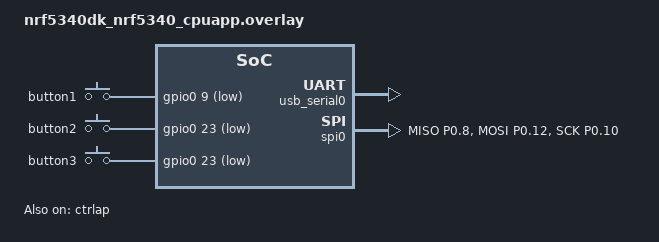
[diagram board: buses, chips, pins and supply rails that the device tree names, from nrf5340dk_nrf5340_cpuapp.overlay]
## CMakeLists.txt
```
cmake_minimum_required(VERSION 3.20.0)
find_package(Zephyr REQUIRED HINTS $ENV{ZEPHYR_BASE})

project(nRF5340_BLE_Sossk)

target_sources(app PRIVATE 
  src/main.c
  src/uart_async_adapter.c
  src/ads1299.c
  src/nfct_oob.c
)
target_sources(app PRIVATE src/led_button.c)
```

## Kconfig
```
menu "Nordic UART BLE GATT service sample"


config USB_UART_ASYNC_ADAPTER
	bool "Enable UART async adapter"
	select SERIAL_SUPPORT_ASYNC
	help
	  Enables asynchronous adapter for UART drives that supports only
	  IRQ interface.

endmenu


source "Kconfig.zephyr"
```

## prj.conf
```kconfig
# Kconfig or config can't use UTF8 chinese
CONFIG_LOG=y
CONFIG_DK_LIBRARY=y

# use double set FPU
CONFIG_FPU=y

# user Config SPI 
CONFIG_SPI=y
CONFIG_SPI_ASYNC=y
CONFIG_NRFX_SPIM0=y
CONFIG_SPI_COMPLETION_TIMEOUT_TOLERANCE=1000
# user spi in V2.6.0 must disable logging for TF-M
CONFIG_TFM_SECURE_UART=n
CONFIG_TFM_LOG_LEVEL_SILENCE=y

# enable updata BT connect param
CONFIG_BT_USER_PHY_UPDATE=y           # 1 update PHY enable

CONFIG_BT_PERIPHERAL_PREF_MIN_INT=16   
CONFIG_BT_PERIPHERAL_PREF_MAX_INT=16
CONFIG_BT_PERIPHERAL_PREF_LATENCY=0
CONFIG_BT_PERIPHERAL_PREF_TIMEOUT=400   

CONFIG_BT_GATT_CLIENT=y               # 3 update MTU user
CONFIG_BT_USER_DATA_LEN_UPDATE=y      # 2 upodate DLE enable
CONFIG_BT_CTLR_DATA_LENGTH_MAX=251
CONFIG_BT_BUF_ACL_RX_SIZE=251
CONFIG_BT_BUF_ACL_TX_SIZE=251
CONFIG_BT_L2CAP_TX_MTU=247

#Enable the NUS service
CONFIG_BT_NUS=y
# use ASYNC uart API
CONFIG_SERIAL=y
CONFIG_UART_ASYNC_API=y

# enable USB Device
CONFIG_USB_DEVICE_STACK=y
CONFIG_USB_DEVICE_PRODUCT="eCon_Sok_Device"
CONFIG_USB_DEVICE_PID=0x0001
CONFIG_USB_CDC_ACM=y
CONFIG_UART_INTERRUPT_DRIVEN=y
CONFIG_UART_LINE_CTRL=y
CONFIG_USB_DEVICE_REMOTE_WAKEUP=n
# enable USB ASYNC Adapter
CONFIG_USB_UART_ASYNC_ADAPTER=y

# set console is RTT View
CONFIG_USE_SEGGER_RTT=y
CONFIG_RTT_CONSOLE=y
CONFIG_UART_CONSOLE=n

# add BT software ad
CONFIG_BT=y
# add BT peripheral rola support ad
CONFIG_BT_PERIPHERAL=y
# define thread stack size main and workqueue
CONFIG_SYSTEM_WORKQUEUE_STACK_SIZE=2048
CONFIG_MAIN_STACK_SIZE=2048

# add about NFCT OBB 
CONFIG_BT_SMP=y
CONFIG_BT_SMP_APP_PAIRING_ACCEPT=y

CONFIG_NFC_T4T_NRFXLIB=y
CONFIG_NFC_NDEF=y
CONFIG_NFC_NDEF_MSG=y
CONFIG_NFC_NDEF_RECORD=y
CONFIG_NFC_NDEF_LE_OOB_REC=y
CONFIG_NFC_NDEF_CH_MSG=y
CONFIG_NFC_NDEF_TEXT_RECORD=y
CONFIG_NFC_NDEF_TNEP_RECORD=y
CONFIG_NFC_TNEP_TAG=y
CONFIG_NFC_NDEF_PARSER=y
CONFIG_NFC_NDEF_CH_PARSER=y
CONFIG_NFC_NDEF_LE_OOB_REC_PARSER=y
CONFIG_NFC_TNEP_CH=y

# use poll must add
CONFIG_POLL=y
```

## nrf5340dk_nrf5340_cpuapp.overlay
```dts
// To get started, press Ctrl+Space to bring up the completion menu and view the available nodes.

// You can also use the buttons in the sidebar to perform actions on nodes.
// Actions currently available include:

// * Enabling / disabling the node
// * Adding the bus to a bus
// * Removing the node
// * Connecting ADC channels

// For more help, browse the DeviceTree documentation at https://docs.zephyrproject.org/latest/guides/dts/index.html
// You can also visit the nRF DeviceTree extension documentation at https://nrfconnect.github.io/vscode-nrf-connect/devicetree/nrfdevicetree.html
&zephyr_udc0 {
    usb_serial0: cdc_acm_uart0 {
        compatible = "zephyr,cdc-acm-uart";
    };
};

&uart0 {
    status = "disabled";
    current-speed = <921600>;
};

&spi4 {
	status = "disabled"; 
	compatible = "nordic,nrf-spim";
	pinctrl-0 = <&spi4_default>;
	pinctrl-1 = <&spi4_sleep>;
	pinctrl-names = "default", "sleep";	
	cs-gpios = <&gpio0 11 GPIO_ACTIVE_LOW>;	
};

&pinctrl {

spi4_default: spi4_default {
		group1 {
			psels = <NRF_PSEL(SPIM_SCK, 0, 10)>,
				<NRF_PSEL(SPIM_MOSI, 0, 12)>,
				<NRF_PSEL(SPIM_MISO, 0, 8)>;
					nordic,drive-mode = <NRF_DRIVE_H0H1>;	
		};

    };

spi4_sleep: spi4_sleep {
		group1 {
			psels = <NRF_PSEL(SPIM_SCK, 0, 10)>,
				<NRF_PSEL(SPIM_MOSI, 0, 12)>,
				<NRF_PSEL(SPIM_MISO, 0, 8)>;
			low-power-enable;
					nordic,drive-mode = <NRF_DRIVE_H0H1>;
		};

    };

    spi0_default: spi0_default {
        group1 {
            psels = <NRF_PSEL(SPIM_MISO, 0, 8)>,
                    <NRF_PSEL(SPIM_MOSI, 0, 12)>,
                    <NRF_PSEL(SPIM_SCK, 0, 10)>;
        };
    };
};

&cryptocell {
    status = "disabled";
};

&ctrlap {
    status = "okay";
};


&gpio_fwd{
    /delete-node/ uart;
    nrf21540-gpio-if{
        gpios = <&gpio0 30 0>,
        <&gpio0 31 0>,
        <&gpio1 10 0>,
        <&gpio1 11 0>;
    };
};

/delete-node/ &button0;

/ {
    aliases {
        mcuboot-button0 = &button1;
    };
};

/ {
    aliases {
        /delete-property/ sw0;
    };
};

&button1 {
    gpios = <&gpio0 9 GPIO_ACTIVE_LOW>;
};

&button2 {
    gpios = <&gpio0 23 (GPIO_ACTIVE_LOW | GPIO_PULL_UP)>;
};

&button3 {
    gpios = <&gpio0 23 (GPIO_ACTIVE_LOW | GPIO_PULL_UP)>;
};

&spu {
    status = "disabled";
};

&uart0_default {
    group1 {
        psels = <NRF_PSEL(UART_TX, 1, 4)>;
    };

    group2 {
        psels = <NRF_PSEL(UART_RX, 1, 5)>;
    };
};

&i2c1 {
    status = "disabled";
};

&spi0 {
    status = "okay";
    cs-gpios = <&gpio0 11 GPIO_ACTIVE_LOW>;
    pinctrl-0 = <&spi0_default>;
    pinctrl-names = "default";
};

&gpiote {
    interrupts = <13>, <5>;
};
```

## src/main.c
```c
#include <zephyr/bluetooth/bluetooth.h>
#include <zephyr/bluetooth/gap.h>
#include <zephyr/bluetooth/uuid.h>
#include <zephyr/bluetooth/addr.h>
/*修改数据与连接参数用到*/
#include <zephyr/bluetooth/gatt.h>
/*蓝牙链接头文件*/
#include <zephyr/bluetooth/conn.h>
/*添加hci层，用于app调用网络核参数eg：static MAC add*/
#include <zephyr/bluetooth/hci_vs.h>
#include <zephyr/drivers/bluetooth/hci_driver.h>
/*添加nus服务头文件*/
#include <bluetooth/services/nus.h>
/*添加 USB CDC ADC头文件*/
#include <zephyr/usb/usb_device.h>
#include "uart_async_adapter.h"

#include "led_button.h"
#include "ads1299.h"
#include "main.h"
#include "nfct_oob.h"

// 注册线程信号量
static K_SEM_DEFINE(ble_init_ok, 0, 1);
// 注册加载log模块 
#define LOG_MODULE_NAME Sok_log_init
LOG_MODULE_REGISTER(LOG_MODULE_NAME);
// 自定义广播名称 
#define DEVICE_NAME "sok_nus_device"
#define DEVICE_NAME_LEN (sizeof(DEVICE_NAME) - 1)
/*  自定义链接设备my_conn
//  Connect management ： bt_conn
//  Zephyr蓝牙协议栈使用bt_conn抽象(*my_conn)来连接其他设备
//  note1：该结构体不向应用程序公开
//  note2：可以使用bt_conn_git_info()获取有限信息
//  note3：可以使用bt_con_ref()确保对象（指针）有效性*/
struct bt_conn *my_conn = NULL;			//用户连接抽象
struct bt_conn *auth_conn = NULL;		//自动重连抽象
// USB CDC ACM UART 缓存
#define DATA_SIZE_MAX  230				//串口（或传感器）一包最多收到230bytes数据
/* 根据节点（zephyr，cdc_acm_uart）获取属性 */
static const struct device *uart_dev = DEVICE_DT_GET_ONE(zephyr_cdc_acm_uart);	
uint8_t rx_buffer[2][DATA_SIZE_MAX];	//usb uart接收中断缓存1
uint8_t *next_buf = rx_buffer[1];		//usb uart接收中断缓存2
typedef struct							//USB收到数据（指令） &&  传感器准备好数据， 缓存到该FIFO中，通过NUS服务发送出去																	
{
	uint8_t * p_data;					//实际存放数据的数组地址								
	uint16_t length;					//这组数据长度
} buffer_t;
uint16_t my_data_cnt;					//缓存数据长度
uint8_t my_data_array[50000];			//缓存USB指令 && 传感器数据区域 eg：50000bytes
K_MSGQ_DEFINE(device_message_queue, sizeof(buffer_t), 200, 2);	//静态创建队列，名称：device_message_queue，大小butter_t，里面消息数量200个，每个元素对齐2bytes

/* User-defined logical variables start ====================================================== */
static bool bt_cccd = false;		//使能描述符cccd旗标
static bool bt_state = false;		//蓝牙连接状态旗标
static bool retry = false;			//重发旗标
static bool Drdy_flag = false;		//中断引脚准备旗标
static bool work_state = false;		//传感器采集状态
/* User-defined logical variables end * ====================================================== */

/* throuht send data timer* start***************************************************************/
static uint8_t ble_led_cnt;
static void timer0_handler(struct k_timer *dummy)	//timer tick = 10ms
{
	int err;
	if (err) {
		LOG_ERR("bt_conn_get_info() returned %d", err);
		return;
	}
	ble_led_cnt++;
	if(ble_led_cnt >= 50)
	{
		if(!bt_state)
			nrf_gpio_pin_toggle(LED_BLE);
		else 
			LED_BLE_L;
		ble_led_cnt = 0;
	}
}
static K_TIMER_DEFINE(timer0, timer0_handler, NULL);
/* throuht send data timer* end*****************************************************************/


/* 更新连接参数部分代码* start********************************************************************/
static void update_phy(struct bt_conn *conn)	//function 1 : 动态更新radio的phy
{
	int err;
	const struct bt_conn_le_phy_param preferred_phy = {	//发送和接受的调制速率可以单独设置
		.options = BT_CONN_LE_PHY_OPT_NONE,
		.pref_rx_phy = BT_GAP_LE_PHY_2M,
		.pref_tx_phy = BT_GAP_LE_PHY_2M,
	};
	err = bt_conn_le_phy_update(conn, &preferred_phy);
	if (err) {
		LOG_ERR("bt_conn_le_phy_update() returned %d", err);
	}
};
static void update_data_length(struct bt_conn *conn)	//function 2 ： 动态更新数据长度DLE
{
	int err;
	struct bt_conn_le_data_len_param my_data_len = {
		.tx_max_len = BT_GAP_DATA_LEN_MAX,
		.tx_max_time = BT_GAP_DATA_TIME_MAX,
	};
	err = bt_conn_le_data_len_update(my_conn, &my_data_len);
	if (err) {
		LOG_ERR("data_len_update failed (err %d)", err);
	}
};
static struct bt_gatt_exchange_params exchange_params;
static void exchange_func(struct bt_conn *conn, uint8_t att_err,
			  struct bt_gatt_exchange_params *params)
{
	LOG_INF("MTU exchange %s", att_err == 0 ? "successful" : "failed");
	if (!att_err) {
		uint16_t payload_mtu =
			bt_gatt_get_mtu(conn) - 3; // 3 bytes used for Attribute headers.
		LOG_INF("New MTU: %d bytes", payload_mtu);
	}
}
static void update_mtu(struct bt_conn *conn)	//function 3 ： 动态更新MTU
{
	int err;
	exchange_params.func = exchange_func;
	err = bt_gatt_exchange_mtu(conn, &exchange_params);
	if (err) {
		LOG_ERR("bt_gatt_exchange_mtu failed (err %d)", err);
	}
}
static void update_led_param(struct bt_conn *conn)	//function 4: 动态更新连接参数
{
	struct bt_le_conn_param param;
	param.interval_max = 800;
	param.interval_min = 800;
	param.latency = 0;
	param.timeout = 400;
	bt_conn_le_param_update(conn, &param);
}
void on_le_param_updated(struct bt_conn *conn, uint16_t interval, uint16_t latency,	//更新连接成功回调函数
			 uint16_t timeout)
{
	double connection_interval = interval * 1.25; // in ms
	uint16_t supervision_timeout = timeout * 10; // in ms
	LOG_INF("Connection parameters updated: interval %.2f ms, latency %d intervals, timeout %d ms",
		connection_interval, latency, supervision_timeout);
}
void on_le_phy_updated(struct bt_conn *conn, struct bt_conn_le_phy_info *param)		//更新PHY成功回调函数
{
	if (param->tx_phy == BT_CONN_LE_TX_POWER_PHY_1M) {
		LOG_INF("PHY updated. New PHY: 1M");
	} else if (param->tx_phy == BT_CONN_LE_TX_POWER_PHY_2M) {
		LOG_INF("PHY updated. New PHY: 2M");
	} else if (param->tx_phy == BT_CONN_LE_TX_POWER_PHY_CODED_S8) {
		LOG_INF("PHY updated. New PHY: Long Range");
	}
}
void on_le_data_len_updated(struct bt_conn *conn, struct bt_conn_le_data_len_info *info)	//更新数据长度成功回调函数
{
	uint16_t tx_len = info->tx_max_len;
	uint16_t tx_time = info->tx_max_time;
	uint16_t rx_len = info->rx_max_len;
	uint16_t rx_time = info->rx_max_time;
	LOG_INF("Data length updated. Length %d/%d bytes, time %d/%d us", tx_len, rx_len, tx_time,
		rx_time);
}
/* 更新连接参数部分代码* end**********************************************************************/


/* 蓝牙广播设置相关部分代码* start*****************************************************************/
static struct bt_le_adv_param *adv_param = BT_LE_ADV_PARAM(// 静态修改广播扫描参数 
(BT_LE_ADV_OPT_CONNECTABLE |
 BT_LE_ADV_OPT_USE_IDENTITY), //链接广播使用用户自定义地址
BT_GAP_ADV_FAST_INT_MIN_1,    //最小广播间隔30ms = 48 x 0.625ms
BT_GAP_ADV_FAST_INT_MAX_1,    //最大广播间隔60ms = 96 x 0.625ms
NULL);                        //非定向广播设置为NULL
static const struct bt_data ad[]={// 设置广播信息 
	BT_DATA_BYTES(BT_DATA_FLAGS, (BT_LE_AD_GENERAL | BT_LE_AD_NO_BREDR)),   //可发现，并且不支持经典蓝牙
	BT_DATA(BT_DATA_NAME_COMPLETE, DEVICE_NAME, DEVICE_NAME_LEN),           //广播名称
};
static const struct bt_data sd[] = {// 设置广播扫描应答 
	BT_DATA_BYTES(BT_DATA_UUID128_ALL, BT_UUID_NUS_VAL),	//应答NUS服务的UUID 128bytes全称
};
void on_connected(struct bt_conn *conn, uint8_t err)//蓝牙连接成功回调函数
{
	if (err) {
		LOG_ERR("Connection error %d", err);
		return;
	}
	LOG_INF("Connected");
	my_conn = bt_conn_ref(conn);
	bt_state = true;
	struct bt_conn_info info;				//连接参数结构体
	err = bt_conn_get_info(conn, &info);	//获取连接参数信息
	if (err) {
		LOG_ERR("bt_conn_get_info() returned %d", err);
		return;
	}
	
	update_phy(my_conn);
	update_data_length(my_conn);
	update_mtu(my_conn);

}
void on_disconnected(struct bt_conn *conn, uint8_t reason)//蓝牙断开事件回调函数
{
	LOG_INF("Disconnected. Reason %d", reason);
	bt_state = false;
	work_state = false;
	if (auth_conn) {
		bt_conn_unref(auth_conn);
		auth_conn = NULL;
	}

	if (my_conn) {
		bt_conn_unref(my_conn);
		my_conn = NULL;
	}
}
struct bt_conn_cb connection_callbacks = {//申明链接回调结构体
	.connected = on_connected,
	.disconnected = on_disconnected,

};
/* 蓝牙广播设置相关部分代码* end*******************************************************************/




/* 串口透传NUS 服务部分代码* start********************************************************************/
static void bt_receive_cb(struct bt_conn *conn, const uint8_t *const data, uint16_t len)	//NUS服务收到数据事件-回调函数
{
	int err;
	uint8_t order;
	//err = uart_tx(uart_dev, data, len, SYS_FOREVER_MS); //回环测试，收到服务端数据回传USB串口
	if(len == 1)
	{
		order = data[0];
		switch(order)
		{
			case 'T':
				work_state = true;	
			break;
			case 'S':
				work_state = false;
			break;
			default:
			
			break;
		}
	}
};
static void bt_send_enabled_cb(enum bt_nus_send_status status)	//NUS使能描述符
{
	int err;
	if(status == BT_NUS_SEND_STATUS_ENABLED)
	{
		LOG_INF("Enable CCCD");
		bt_cccd = true;
	}
	else
	{
		LOG_INF("nus disable CCCD");
		bt_cccd = false;
	}
};
static void  bt_sent_cb(struct bt_conn *conn)	//NUS发送主机事件ACK回调
{
	//ble_data_send_queue();
};
static struct bt_nus_cb nus_cb = {	//用于初始化的回调事件结构体
	.received = bt_receive_cb,
	.send_enabled = bt_send_enabled_cb,
	.sent = bt_sent_cb,	
	
};
/* 串口透传NUS 服务部分代码* end**********************************************************************/



/* USB CDC ACM   部分代码* start********************************************************************/
static void uart_callback(const struct device *dev,  struct uart_event *evt,  void *user_data)	//USB CDC UART 事件回调
{
	struct device *uart = user_data;
	int err;
	switch (evt->type) {
	case UART_TX_DONE:	
		break;

	case UART_TX_ABORTED:
		break;
	case UART_RX_DISABLED:
   		err = uart_rx_enable(uart_dev, rx_buffer[0], sizeof(rx_buffer[0]), -1);		//开启连续接受模式
		break;
	case UART_RX_RDY:
		// length = evt->data.rx.len;
		// memcpy(&my_data_array[data_cnt], evt->data.rx.buf, length);	//数据存入缓存
		// push_buf.length = length;	//数据地址存入堆栈
		// push_buf.p_data = &my_data_array[data_cnt];
		// err = k_msgq_put(&device_message_queue, &push_buf, K_FOREVER);
		// if (err) {
		// 	LOG_ERR("Return value from k_msgq_put = %d", err);
		// }

		// err = k_msgq_get(&device_message_queue, &pop_buf, K_FOREVER);
		// if (err) {
		// 	LOG_ERR("Return value from k_msgq_get = %d", err);
		// }
		// bt_nus_send(NULL, pop_buf.p_data, pop_buf.length);
		// data_cnt = data_cnt + length;
		break;
	case UART_RX_BUF_REQUEST:
		err = uart_rx_buf_rsp(uart, next_buf,
			sizeof(rx_buffer[0]));
		if (err) {
			LOG_WRN("UART RX buf rsp: %d", err);
		}	
		break;
	case UART_RX_BUF_RELEASED:
		break;
	case UART_RX_STOPPED:
		break;
	}	
}
static bool uart_test_async_api(const struct device *dev)
{
	const struct uart_driver_api *api=
		(const struct uart_driver_api *)dev->api;
	return (api->callback_set!=NULL);
}
#if CONFIG_USB_UART_ASYNC_ADAPTER
UART_ASYNC_ADAPTER_INST_DEFINE(async_adapter);
#else
static const struct device *const async_adapter;
#endif
void usb_cdc_acm_init()	//初始化USB CDC UART
{
	int err;
	uint8_t *buf;
	if(!device_is_ready(uart_dev)){
		printk("device %s is not ready; exiting\n", uart_dev->name);
	}
    if (IS_ENABLED(CONFIG_USB_DEVICE_STACK)) {
		err = usb_enable(NULL);
		if (err && (err != -EALREADY)) {
			printk("Failed to enable USB\n");
			return;
		}
	}
    if (IS_ENABLED(CONFIG_USB_UART_ASYNC_ADAPTER) && !uart_test_async_api(uart_dev)) {
		/* Implement API adapter */
		uart_async_adapter_init(async_adapter, uart_dev);
		uart_dev = async_adapter;
	}	
	err = uart_callback_set(uart_dev, uart_callback, (void *)uart_dev);
	__ASSERT(err == 0, "Failed to set callback");
    err = uart_rx_enable(uart_dev, rx_buffer[0], sizeof(rx_buffer)[0], -1);		//中断里面清除阻塞开启连续接受
}
/* USB CDC ACM   部分代码* end**********************************************************************/


/* GPIOTE ADS1299_DRDY 引脚中断部分代码* start*******************************************************/
//ads1299 数据中断读取数据
#define ADS1299_DRDY_NODE	DT_ALIAS(sw1)	
static const struct gpio_dt_spec drdy_dev = GPIO_DT_SPEC_GET(ADS1299_DRDY_NODE, gpios);
void ads1299_data_prepare()
{
	int err;
	uint16_t length;
	buffer_t push_buf;
	length = 222;
	memcpy(&my_data_array[my_data_cnt], eCon_Message_buf, length);	
	push_buf.length = length;
	push_buf.p_data = &my_data_array[my_data_cnt];
	err = k_msgq_put(&device_message_queue, &push_buf, K_NO_WAIT);
	if (err) {
		LOG_WRN("queue is full reason is = %d", err);
	}
	my_data_cnt = my_data_cnt + length;
	if(my_data_cnt >= 49600)
	my_data_cnt = 0;
}
void ads1299_drdy_int_Handle(const struct device *dev, struct gpio_callback *cb, uint32_t pins)
{
	if(bt_cccd == true){
		Drdy_flag = true;
	}
	else{
		Drdy_flag = false;
	}

}
static struct gpio_callback drdy_cb_data;
void ads1299_gpiote_init()
{
	int ret;
	if (!device_is_ready(drdy_dev.port)) {  
		return;
	}
 	ret = gpio_pin_configure_dt(&drdy_dev, GPIO_INPUT);	
	if(ret < 0){
		return;
	} 
	ret = gpio_pin_interrupt_configure_dt(&drdy_dev, GPIO_INT_EDGE_TO_ACTIVE);  //1299在drdy上升沿读取？
 	gpio_init_callback(&drdy_cb_data, ads1299_drdy_int_Handle, BIT(drdy_dev.pin));	 
	gpio_add_callback(drdy_dev.port, &drdy_cb_data);
}
/* GPIOTE ADS1299_DRDY 引脚中断部分代码* end*********************************************************/


/*
  name      ：bt_private_set_addr（）
  function  ：静态修改广播MAC地址
  param     : none
  return    : none
  notice    : 需要在广播初始化之前完成
*/
static void bt_private_set_addr()
{
	int err;
  	bt_addr_le_t addr;
	err = bt_addr_le_from_str("FF:EE:DD:CC:BB:AA", "random", &addr);
	if (err) {
		printk("Invalid BT address (err %d)\n", err);
	}
	err = bt_id_create(&addr, NULL);
	if (err < 0) {
		printk("Creating new ID failed (err %d)\n", err);
	}
}
/*
  name      ：bt_get_addr（）
  function  ：读取本机的MAC ADD
  param     : none
  return    : none
  notice    : 需要在BT_ENABLE之后，同时引用hci头文件，APP从网络核中读取
*/
char user_addr_str[BT_ADDR_STR_LEN];

static void bt_get_addr()
{
	struct bt_hci_vs_static_addr addr;
	int addr_count;
	addr_count = bt_read_static_addr(&addr, 1);

	if (addr_count > 0)
	{
		bt_addr_to_str(&(addr.bdaddr), user_addr_str, sizeof(user_addr_str));
		printk("BT addr: %s\n", user_addr_str);
	}
}

int main(void)
{
    int err;
	int blink_status = 0;  
	usb_cdc_acm_init();
  	Led_Button_init();	
	pow_init();
	k_msleep(50);
	ADS1299_spi_init();
	ADS1299_SampleRate_init(SAMPLE_RATE_1000);
	ADS_ModeSelect(TestSignal);
  //bt_private_set_addr();	//设置私有随机地址

 	/* 注册连接事件回调 */
	bt_conn_cb_register(&connection_callbacks);
	/* 注册smp连接事件回调 */
	sercurity_conn_init_main();
  	/* 使能协议栈 */
    err = bt_enable(NULL);
	if (err) {
		LOG_ERR("Bluetooth init failed (err %d)\n", err);
		return;
	}
	/* 读取MAC 本地地址*/
	bt_get_addr();
	/* 初始化NUS服务 */
	err = bt_nus_init(&nus_cb);
	if (err) {
		LOG_ERR("Failed to initialize UART service (err: %d)", err);
		return;
	}
 	/* 按照设置好的adv_param参数开启广播 */
	err = bt_le_adv_start(adv_param, ad, ARRAY_SIZE(ad), sd, ARRAY_SIZE(sd));
	if (err) {
		LOG_ERR("Advertising failed to start (err %d)\n", err);
		return;
	}
  	LOG_INF("Advertising successfully started");

	/* 全部初始化完成后开启传感器引脚中断和APP定时器*/
	k_timer_start(&timer0, K_MSEC(1), K_MSEC(10));
	ads1299_gpiote_init();	
	nfc_tnep_ndef_init_main();
	k_sem_give(&ble_init_ok);
	for (;;) {
    	//线程中不能用死循环造成堵塞
		if(bt_state){
			nfc_tnep_tag_event_handle();	//只有连接时候轮询NFC event
		}

		k_sleep(K_MSEC(100));
	}
}
/* 模拟传感器数据线程 start********************************************************************/
#define STACKSIZE 1024
#define PRIORITY 3
void send_data_thread(void)//新建一个线程，用于读取数据和发送
{
	/*mian thread 未初始化完成前不做任何操作*/
	k_sem_take(&ble_init_ok, K_FOREVER);	
	int err;
	uint16_t pop_length;
	buffer_t pop_buf;
	for (;;) {
		if((Drdy_flag == true)&&(work_state == true))
		{
			Drdy_flag = false;
			ADS1299_DATA_SetLine();
		}
	if(retry == true)	//如果之前发送失败，需要重发
	{
		err = bt_nus_send(NULL, pop_buf.p_data, pop_buf.length);
		if(err)
		{
			LOG_WRN("retry send is fail %d",err);
		}
		else
		{
			retry = false;
			LOG_INF("retry send OK");
		}
	}
	else	//没有重发就正常从队列取出数据发送
	{
		err = k_msgq_get(&device_message_queue, &pop_buf, K_NO_WAIT);
		if(err)
		{
			//LOG_WRN("queue none or timeout reason is = %d", err);
		}
		else//取出队列成功
		{
			err = bt_nus_send(NULL, pop_buf.p_data, pop_buf.length);
			if(err)
			{
				LOG_WRN("Failed to send data over BLE connection");
				retry = true;	//发送失败需要重发
			}
			else
			{

			}
		}
	}
		k_usleep(100);
	}
}
//静态创建线程
K_THREAD_DEFINE(send_data_thread_id, STACKSIZE, send_data_thread, NULL, NULL, NULL, PRIORITY, 0, 0);
/* 模拟传感器数据线程 end**********************************************************************/
```

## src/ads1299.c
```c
#include "ads1299.h"
#include <zephyr/drivers/spi.h>

#define LOG_MODULE_NAME Sok_1299_log
LOG_MODULE_REGISTER(LOG_MODULE_NAME);

// spi 节点声明 + 设备结构体指针
#define spi0_NODE   DT_NODELABEL(spi0)
static const struct device *spi4_dev = DEVICE_DT_GET(spi0_NODE);

// set spi config 结构体
struct spi_config spi_cfg;
struct spi_cs_control cs_ctrl;

// user private code and variable
uint8_t ads1299_id = 0x00;
uint8_t	demoIDX=0;
uint8_t packet_cnt;
uint8_t eCon_Message_buf[222] = {0xBB,0xAA}; 
uint8_t ReadBuf[27];
uint8_t writeBuf[27]={0x00,0x00};
/*外部声明函数*/
void ads1299_data_prepare();

void spi_CS_Lock_on(uint8_t lock_state)
{
    switch(lock_state)
    {
        case 0: spi_cfg.operation = SPI_WORD_SET(8)|SPI_MODE_CPHA|SPI_HOLD_ON_CS;
            break;
        case 1: spi_cfg.operation = SPI_WORD_SET(8)|SPI_MODE_CPHA&(~(SPI_HOLD_ON_CS));
            break;
    }
}

// ads1299 spi配置初始化配置
void ADS1299_spi_init()
{
	cs_ctrl.gpio.port = DEVICE_DT_GET(DT_GPIO_CTLR(DT_NODELABEL(spi4), cs_gpios));
	cs_ctrl.gpio.pin = DT_GPIO_PIN(DT_NODELABEL(spi4), cs_gpios);
	cs_ctrl.gpio.dt_flags = DT_GPIO_FLAGS(DT_NODELABEL(spi4), cs_gpios);
	cs_ctrl.delay = 2;
	spi_cfg.operation = SPI_WORD_SET(8)|SPI_MODE_CPHA| SPI_OP_MODE_MASTER;
	spi_cfg.frequency = 8000000;
	spi_cfg.cs = cs_ctrl;
    ADS1299_RESET();
    k_msleep(10);
    ADS_SDATAC();
    k_msleep(10);  
    ads1299_id = ADS_getDeviceID();
    if(ads1299_id != 0x3e)
       	LOG_ERR("ADS1299 init error err: %d", ads1299_id);
    else
		LOG_INF("ADS1299 init success  %d", ads1299_id);
}

//ads1299采样率初始化
void ADS1299_SampleRate_init(SAMPLE_RATE sr)
{
	uint8_t output_data_rate;
	switch(sr) {
			case SAMPLE_RATE_250:
					output_data_rate= 0x06;
					break;
			case SAMPLE_RATE_500:
					output_data_rate= 0x05;
					break;
			case SAMPLE_RATE_1000:
					output_data_rate= 0x04;
					break;
			case SAMPLE_RATE_2000:
					break;
			case SAMPLE_RATE_4000:
					break;
			case SAMPLE_RATE_8000:
					break;
			case SAMPLE_RATE_16000:
					break;
			default:;
	}	
	ADS_WREG(CONFIG1,0xD0 | output_data_rate);		//注意，单片1299没有使用菊花链，必须设置为0XD0
	k_msleep(100);
	ADS_WREG(CONFIG3,0xEC);
	k_msleep(100);	
	
}

//设置Ads1299模式（1-Impedance、2-Normal、3-Short noise、4-Test wave）
void ADS_ModeSelect(SAMPLE_MODE md)
{
	switch(md) {
		case Impedance:
			{//Impedance-31.2Hz-AC-6nA
				ADS_WREG(LOFF,0x02);
				k_msleep(10);

				ADS_WREG(BIAS_SENSP,0xFF);
				k_msleep(10);
				ADS_WREG(BIAS_SENSN,0xFF);
				k_msleep(10);
				ADS_WREG(LOFF_SENSP,0xFF);
				k_msleep(10);
				ADS_WREG(LOFF_SENSN,0x00);
				k_msleep(10);
				ADS_WREG(LOFF_FLIP,0x00);
				k_msleep(10);
				ADS_WREG(MISC1,0x20);//设置SRB1
				k_msleep(10);
				
				ADS_WREG(CH1SET,0x60);
				k_msleep(5);
				ADS_WREG(CH2SET,0x60);
				k_msleep(5);
				ADS_WREG(CH3SET,0x60);
				k_msleep(5);
				ADS_WREG(CH4SET,0x60);
				k_msleep(5);
				ADS_WREG(CH5SET,0x60);
				k_msleep(5);
				ADS_WREG(CH6SET,0x60);
				k_msleep(5);
				ADS_WREG(CH7SET,0x60);
				k_msleep(5);
				ADS_WREG(CH8SET,0x60);
				k_msleep(5);
				
				ADS1299_START();
				k_msleep(5);
				ADS_RDATAC();
				k_msleep(5);
			}
			break;
		case Normal:
			{
				ADS_WREG(CONFIG2,0xC0);
				/*-----------------------------------------------------------------------
				*bit[7:5]			6h
				*bit4:				0:测试信号外部产生							1：测试信号内部产生
				*bit3：				0h	
				*bit2：				0：1x-(vrefp-vrefn)/2400				1：2x-(vrefp-vrefn)/2400
				*bit[1:0]			测试信号频率
				*----------------------------------------------------------------------*/	
				k_msleep(10);
				ADS_WREG(BIAS_SENSP,0xFF);
				/*-----------------------------------------------------------------------
				  * 该寄存器控制每个通道正信号进行偏置电压BIAS的推导
					*	BIASPn:						0:关闭正信号输入BIAS中							1：使能
				*----------------------------------------------------------------------*/	
				k_msleep(10);
				ADS_WREG(BIAS_SENSN,0xFF);
				/*-----------------------------------------------------------------------
					* 该寄存器控制每个通道负信号进行偏置电压BIAS的推导
					*	BIASPn:						0:关闭正信号输入BIAS中							1：使能
				*----------------------------------------------------------------------*/	
				k_msleep(10);
				ADS_WREG(MISC1,0x00);//设置SRB1开关打开 ——> 差分使用
				//ADS_WREG(MISC1,0x20);//设置SRB1开关闭合 ——> 单端使用
				/*-----------------------------------------------------------------------
					*	该寄存器提高SRB引脚接入反向输入控制
					*	bit5：						0：开关打开													1：开关关闭
				*----------------------------------------------------------------------*/	
				k_msleep(10);
				ADS_WREG(CH1SET,0x60);
				/*-----------------------------------------------------------------------
					* CH[1:8]控制着电源模式、PGA增益和多路复用器设置
					*	bit7(power_down)							0：正常运行										1：通道断电		
					*	bit[6:4](PGA gain)						000:1		001:2		010:4		011:6		100:8		101:12		110:24		111:do not use
					*	bit[3]												0: 打开SRB2连接								1：关闭SRB2连接
					*	bit[2:0]多路复用MUXn[2:0]			000：正常电极输入		001：输入短路		010：与BIAS_MEAS一起使用，用于测试偏置		011：MVDD输入		100：温度信号		101：测试信号		110：BIAS_DRP：正极是驱动器		111：负极是驱动器
				*----------------------------------------------------------------------*/		
					k_msleep(5);
					ADS_WREG(CH2SET,0x60);	//Gain：24			LSB = 0.02384 uv
					k_msleep(5);
					ADS_WREG(CH3SET,0x60);
					k_msleep(5);
					ADS_WREG(CH4SET,0x60);
					k_msleep(5);
					ADS_WREG(CH5SET,0x60);
					k_msleep(5);
					ADS_WREG(CH6SET,0x60);
					k_msleep(5);
					ADS_WREG(CH7SET,0x60);
					k_msleep(5);
					ADS_WREG(CH8SET,0x60);
					k_msleep(5);	
					ADS1299_START();
					k_msleep(5);
					ADS_RDATAC();
					k_msleep(5);
			}
			break;
		case InternalShort:
			{
				ADS_WREG(CONFIG2,0xC0);
				k_msleep(10);
								
				ADS_WREG(CH1SET,0x01);
				k_msleep(5);
				ADS_WREG(CH2SET,0x01);
				k_msleep(5);
				ADS_WREG(CH3SET,0x01);
				k_msleep(5);
				ADS_WREG(CH4SET,0x01);
				k_msleep(5);
				ADS_WREG(CH5SET,0x01);
				k_msleep(5);
				ADS_WREG(CH6SET,0x01);
				k_msleep(5);
				ADS_WREG(CH7SET,0x01);
				k_msleep(5);
				ADS_WREG(CH8SET,0x01);
				k_msleep(5);

				ADS1299_START();
				k_msleep(5);
				ADS_RDATAC();
				k_msleep(5);
			}
			break;
		case TestSignal:
			{
				ADS_WREG(CONFIG2,0xD0);
				k_msleep(100);
				ADS_WREG(CH1SET,0x05);
				k_msleep(5);
				ADS_WREG(CH2SET,0x05);
				k_msleep(5);
				ADS_WREG(CH3SET,0x05);
				k_msleep(5);
				ADS_WREG(CH4SET,0x05);
				k_msleep(5);
				ADS_WREG(CH5SET,0x05);
				k_msleep(5);
				ADS_WREG(CH6SET,0x05);
				k_msleep(5);
				ADS_WREG(CH7SET,0x05);
				k_msleep(5);
				ADS_WREG(CH8SET,0x05);
				k_msleep(5);
				

				ADS_RDATAC();
				LOG_INF("open ads1299 continuous mode");
				k_msleep(5);
				// ADS1299_START();
				// k_msleep(5);					
			}
			break;
		default:;
	}

}


uint8_t ADS_xfer(uint8_t byte)
{
    int err;
    uint8_t tx_code[1];
    uint8_t rx_code[1];    
    tx_code[0] = byte;
	struct spi_buf spi_tx_buf[1] = {
		{
			.buf = tx_code,
			.len = sizeof(tx_code),
		},
	};  
	struct spi_buf spi_rx_buf[1] = {
		{
			.buf = rx_code,
			.len = sizeof(rx_code),
		},
	};      
	const struct spi_buf_set tx_set = {
		.buffers = spi_tx_buf,
		.count = 1
	};

	const struct spi_buf_set rx_set = {
		.buffers = spi_rx_buf,
		.count = 1
	};     
	err = spi_transceive(spi4_dev, &spi_cfg, &tx_set, &rx_set);
    
    if (err)
    {
		//LOG_ERR("SPI transcation failed err : %d", err);
    }
    else
    {
        return rx_code[0];
       // printk("data : %d", rx_code[0]);        
       // LOG_HEXDUMP_INF(rx_set.buffers->buf, rx_set.buffers->len, "Received SPI data: ");
    }
}

//ADS1299写寄存器
uint8_t	ADS_WREG(uint8_t	address,	uint8_t	cmd)
{
	uint8_t	Opcode1 = address + 0x40;
    spi_CS_Lock_on(CS_HOLD_ON);
	ADS_xfer(Opcode1);
	for(int j=250;j>0;j--){};
	ADS_xfer(0x00);
	for(int j=250;j>0;j--){};
    spi_CS_Lock_on(CS_DEFAULT);
	ADS_xfer(cmd);
	for(int j=250;j>0;j--){};
}

//ADS1299读寄存器
uint8_t ADS_RREG(uint8_t address)
{
    uint8_t reback_data;
	uint8_t	Opcode1 = address + 0x20;
    spi_CS_Lock_on(CS_HOLD_ON);  					
	ADS_xfer(Opcode1);
	for(int j=250;j>0;j--){};
	ADS_xfer(0x00);
	for(int j=250;j>0;j--){};
    spi_CS_Lock_on(CS_DEFAULT);	    
	reback_data = ADS_xfer(0x00);
    //printk("The ADS1299 chip ID is: %d", reback_data); 
	for(int j=250;j>0;j--){};		
	return 	reback_data;				
}

//ADS1299软件复位
void ADS1299_RESET(void)
{
    //CS_L;
	ADS_xfer(_RESET);
	k_msleep(1);
    //CS_H;
}

//ADS连续读取模式
void ADS_RDATAC(void)
{
    //CS_L;
    ADS_xfer(_RDATAC);
    for(int j=250;j>0;j--){};
    k_msleep(1);
    //CS_H;
}

//ADS1299停止连续读取模式
void ADS_SDATAC(void)
{
    //CS_L;
    ADS_xfer(_SDATAC);
    for(int j=250;j>0;j--){};
    k_msleep(1);
    //CS_H;
}

//ADS获取芯片ID
uint8_t	ADS_getDeviceID(void)
{
    uint8_t chip_id;
    //CS_L;
    chip_id = ADS_RREG(ID_REG);
    return chip_id;

}


void ADS1299_STOP(){
    ADS_xfer(_STOP);
    for(int j=250;j>0;j--){};
}


//ADS开启信号
void ADS1299_START(void)
{
    //CS_L;
    ADS_xfer(_START);
    for(int j=250;j>0;j--){};
    //CS_H;
}

//ADS进入StandBY模式
void ADS_Enter_StandBY()
{
    //CS_L;
    ADS_xfer(_STANDBY);
    for(int j=250;j>0;j--){};
    k_msleep(1);
    //CS_H;
}

//ADS推出StandBY模式
void ADS_Exit_StandBY()
{
    //CS_L;
    ADS_xfer(_WAKEUP);
    for(int j=250;j>0;j--){};
    k_msleep(1);
    //CS_H;
}

//校验：数据和求反
uint8_t eCon_Checksum(uint8_t *content,uint8_t len)
{
    uint8_t result = 0;
    for(int i=0;i<len;i++) {
        result += content[i];
    }
    return ~result;
}

/*-----------------------------读取1片1299数据---------------------------------------
1片1299读取数据量 = 8chn x 3bytes = 24bytes
1包数据 9帧 数据量 = 24 x 9 = 216
算上各种数据格式 = 216 + 2 + 4 = 222bytes
单包数据格式 如下 *eCon_Message_buf
	 0-1			2 - 217			218			219			 220			 221
	BBAA	+	8ch*3bytes*9pot	+	校验	+	标签	+	电池电量	+	包序号cnt
-----------------------------------------------------------------------------------------*/
void updataADS1299_32data(volatile uint8_t *rx_buf_array, size_t rx_buf_length,volatile uint8_t *tx_buf_array, size_t tx_buf_length)
{
  const struct spi_buf tx_buf[1] = {{.buf = tx_buf_array, .len = tx_buf_length}};
  const struct spi_buf_set tx = {.buffers = tx_buf, .count = 1};
  const struct spi_buf rx_buf[1] = {{.buf = rx_buf_array, .len = rx_buf_length}}; 
  const struct spi_buf_set rx = {.buffers = rx_buf, .count = 1};  
  spi_transceive(spi4_dev, &spi_cfg, &tx, &rx);	  
}


int		boardStat;
void updateBoardData(void)
{
	uint8_t inByte;
	for (int i = 0; i < 3; i++)
	{//3bytes ： STAT
		inByte = ADS_xfer(0x00); 									
		boardStat = (boardStat << 8) | inByte;
	}
	for (int i = 0; i < 8; i++)
	{//8个通道
		for (int j = 0; j < 3; j++)
		{//1包数据3bytes
			if(i == 0)
			{ 
				inByte = ADS_xfer(0x00);
				eCon_Message_buf[j + i*3 + demoIDX*24] = inByte;
			}
		}
	}
	demoIDX++;
}


void ADS1299_DATA_SetLine()
{
	//updateBoardData();
	updataADS1299_32data(ReadBuf, 27, writeBuf, 27);
	memcpy(&eCon_Message_buf[2+demoIDX*24],&ReadBuf[3], 24);
	demoIDX++;
	if(demoIDX == 9)
	{
		packet_cnt++;
		eCon_Message_buf[0] = 0xBB;
		eCon_Message_buf[1] = 0xAA;		
		eCon_Message_buf[218] = eCon_Checksum(&(eCon_Message_buf[2]),216);	
		eCon_Message_buf[219] = 0;		
		eCon_Message_buf[220] = 100;		
		eCon_Message_buf[221] = packet_cnt;
		demoIDX = 0;
		ads1299_data_prepare();
	}
	
}
```

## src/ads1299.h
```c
#ifndef _ADS1299_H
#define _ADS1299_H


#include "stdint.h"
#include "main.h"


#define SPI1_CS         NRF_GPIO_PIN_MAP(1,12)
#define CS_H            nrf_gpio_pin_set(SPI1_CS)
#define CS_L            nrf_gpio_pin_clear(SPI1_CS)

extern uint8_t	demoIDX;
extern uint8_t eCon_Message_buf[222]; 
extern uint8_t ReadBuf[27];
extern uint8_t writeBuf[27];


//ADS1299 SPI Command Definition Byte Assignments
#define _WAKEUP 		0x02 	// Wake-up from standby mode
#define _STANDBY		0x04 	// Enter Standby mode
#define _RESET 			0x06 	// Reset the device registers to default
#define _START 			0x08 	// Start and restart (synchronize) conversions
#define _STOP 			0x0A 	// Stop conversion
#define _RDATAC 		0x10 	// Enable Read Data Continuous mode (default mode at power-up)
#define _SDATAC 		0x11 	// Stop Read Data Continuous mode
#define _RDATA 			0x12 	// Read data by command supports multiple read back

//ASD1299 Register Addresses
#define ADS_ID			0x3E	// product ID for ADS1299
#define ID_REG  		0x00	// this register contains ADS_ID
#define CONFIG1 		0x01
#define CONFIG2 		0x02
#define CONFIG3 		0x03
#define LOFF			0x04
#define CH1SET 			0x05
#define CH2SET 			0x06
#define CH3SET 			0x07
#define CH4SET 			0x08
#define CH5SET 			0x09
#define CH6SET 			0x0A
#define CH7SET 			0x0B
#define CH8SET 			0x0C
#define BIAS_SENSP      0x0D
#define BIAS_SENSN  	0x0E
#define LOFF_SENSP   	0x0F
#define LOFF_SENSN   	0x10
#define LOFF_FLIP 	    0x11
#define LOFF_STATP  	0x12
#define LOFF_STATN  	0x13
#define GPIO 			0x14
#define MISC1 			0x15
#define MISC2 			0x16
#define CONFIG4 		0x17


/* define end */

typedef enum
{
	SAMPLE_RATE_16000,
	SAMPLE_RATE_8000,
	SAMPLE_RATE_4000,
	SAMPLE_RATE_2000,
	SAMPLE_RATE_1000,
	SAMPLE_RATE_500,
	SAMPLE_RATE_250
}SAMPLE_RATE;

typedef enum
{
	Impedance     =1,
	Normal        =2,
	InternalShort =3,
	TestSignal    =4
}SAMPLE_MODE;

typedef enum
{
	CS_HOLD_ON     =0,
	CS_DEFAULT     =1,
}CS_SET_STATE;

void spi_cs_lock_on(uint8_t lock_state);
void ADS1299_spi_init();
void ADS1299_SampleRate_init(SAMPLE_RATE sr);
void ADS_ModeSelect(SAMPLE_MODE md);
uint8_t ADS_xfer(uint8_t byte);
uint8_t	ADS_WREG(uint8_t address,uint8_t cmd);
uint8_t ADS_RREG(uint8_t address);
void ADS1299_RESET(void);
void ADS_RDATAC(void);
void ADS_SDATAC(void);
uint8_t	ADS_getDeviceID(void);
void ADS1299_START(void);
void ADS_Enter_StandBY();
void ADS_Exit_StandBY();
uint8_t eCon_Checksum(uint8_t *content,uint8_t len);
void updataADS1299_32data(volatile uint8_t *rx_buf_array, size_t rx_buf_length,volatile uint8_t *tx_buf_array, size_t tx_buf_length);
void updateBoardData(void);
void ADS1299_DATA_SetLine();
#endif
```

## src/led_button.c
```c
#include "led_button.h"

void led_all_set(uint8_t state)
{
    if(state == 1)
    {
        LED_BLE_L;
        LED_RADIO_L;
        LED_WIFI_L;
        LED_NFC_L;
        LED_MARK_L;
    }
    else if(state == 0)
    {
        LED_BLE_H;
        LED_RADIO_H;
        LED_WIFI_H;
        LED_NFC_H;
        LED_MARK_H;   
    }

}
void pow_init()
{

    nrf_gpio_cfg_output(POW_WIFI);
    nrf_gpio_cfg_output(POW_VADS);
    k_msleep(10);      
    POW_WIFI_H;
    POW_VADS_H;    

}
void Led_Button_init()
{
    nrf_gpio_cfg_output(LED_BLE);
    nrf_gpio_cfg_output(LED_RADIO);
    nrf_gpio_cfg_output(LED_WIFI);   
    nrf_gpio_cfg_output(LED_NFC);
    nrf_gpio_cfg_output(LED_MARK); 

    led_all_set(0);  
    k_msleep(300);         
    led_all_set(1);  
    k_msleep(300);     
    led_all_set(0);     
    k_msleep(300);             
    led_all_set(1);  
    k_msleep(300);      
    led_all_set(0);  
}
```

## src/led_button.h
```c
#ifndef LED_BUTTON_H
#define LED_BUTTON_H

#include "main.h"


#define LED_BLE             NRF_GPIO_PIN_MAP(1,12)
#define LED_RADIO           NRF_GPIO_PIN_MAP(1,13)
#define LED_WIFI            NRF_GPIO_PIN_MAP(1,14)
#define LED_NFC             NRF_GPIO_PIN_MAP(1,15)
#define LED_MARK            NRF_GPIO_PIN_MAP(0,06)
/*******************/
#define POW_WIFI            NRF_GPIO_PIN_MAP(0,20)
#define POW_VADS            NRF_GPIO_PIN_MAP(0,19)


#define LED_BLE_H           nrf_gpio_pin_set(LED_BLE)
#define LED_BLE_L           nrf_gpio_pin_clear(LED_BLE)
#define LED_RADIO_H         nrf_gpio_pin_set(LED_RADIO)
#define LED_RADIO_L         nrf_gpio_pin_clear(LED_RADIO)
#define LED_WIFI_H          nrf_gpio_pin_set(LED_WIFI)
#define LED_WIFI_L          nrf_gpio_pin_clear(LED_WIFI)
#define LED_NFC_H           nrf_gpio_pin_set(LED_NFC)
#define LED_NFC_L           nrf_gpio_pin_clear(LED_NFC)
#define LED_MARK_H          nrf_gpio_pin_set(LED_MARK)
#define LED_MARK_L          nrf_gpio_pin_clear(LED_MARK)
/*******************/
#define POW_WIFI_H          nrf_gpio_pin_set(POW_WIFI)
#define POW_WIFI_L          nrf_gpio_pin_clear(POW_WIFI)
#define POW_VADS_H          nrf_gpio_pin_set(POW_VADS)
#define POW_VADS_L          nrf_gpio_pin_clear(POW_VADS)



void pow_init();
void led_all_set(uint8_t state);
void Led_Button_init();





#endif
```

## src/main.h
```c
#ifndef MAIN_H
#define MAIN_H

// zephyr 
#include <zephyr/kernel.h>
#include <zephyr/device.h>
#include <zephyr/devicetree.h>
// Log 
#include <zephyr/sys/printk.h>
#include <zephyr/logging/log.h>
// zephyr driver include
#include <zephyr/drivers/gpio.h>
// nordic hal driver include
#include <hal/nrf_spim.h>
#include <hal/nrf_gpio.h>
// sys
#include <stdint.h>
// peripheral
#include <zephyr/drivers/uart.h>
#include <zephyr/drivers/spi.h>







#endif
```

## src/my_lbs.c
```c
/*
 * Copyright (c) 2018 Nordic Semiconductor ASA
 *
 * SPDX-License-Identifier: LicenseRef-Nordic-5-Clause
 */

/** @file
 *  @brief LED Button Service (LBS) sample
 */

#include <zephyr/types.h>
#include <stddef.h>
#include <string.h>
#include <errno.h>
#include <zephyr/sys/printk.h>
#include <zephyr/sys/byteorder.h>
#include <zephyr/kernel.h>

#include <zephyr/bluetooth/bluetooth.h>
#include <zephyr/bluetooth/hci.h>
#include <zephyr/bluetooth/conn.h>
#include <zephyr/bluetooth/uuid.h>
#include <zephyr/bluetooth/gatt.h>

#include "my_lbs.h"

#include <zephyr/logging/log.h>

LOG_MODULE_DECLARE(Lesson4_Exercise1);


static bool indicate_enabled;			//按键cccd描述符状态
static bool notify_mysensor_enabled;	//传感器cccd描述符状态
static bool button_state;				//按键状态


static struct my_lbs_cb lbs_cb;
static struct bt_gatt_indicate_params ind_params;		//定义GATT指示参数

//客户端更新(按键特征)描述符值
static void mylbsbc_ccc_cfg_changed(const struct bt_gatt_attr *attr, uint16_t value)
{
	indicate_enabled = (value == BT_GATT_CCC_INDICATE);
}

//客户端更新(C传感器特征)描述符值
static void mylbsbc_ccc_mysensor_cfg_changed(const struct bt_gatt_attr *attr, uint16_t value)
{
	notify_mysensor_enabled = (value == BT_GATT_CCC_NOTIFY);
}

//远程设备（客户端）确认指示（使能cccd描述符）的回调函数，在log中打印是否使能成功
static void indicate_cb(struct bt_conn *conn, struct bt_gatt_indicate_params *params, uint8_t err)
{
	LOG_DBG("Indication %s\n", err != 0U ? "fail" : "success");
}




//下发点灯指示事件
static ssize_t write_led(struct bt_conn *conn, const struct bt_gatt_attr *attr, const void *buf,
			 uint16_t len, uint16_t offset, uint8_t flags)
{
	LOG_DBG("Attribute write, handle: %u, conn: %p", attr->handle, (void *)conn);

	if (len != 1U) {
		LOG_DBG("Write led: Incorrect data length");
		return BT_GATT_ERR(BT_ATT_ERR_INVALID_ATTRIBUTE_LEN);
	}

	if (offset != 0) {
		LOG_DBG("Write led: Incorrect data offset");
		return BT_GATT_ERR(BT_ATT_ERR_INVALID_OFFSET);
	}

	if (lbs_cb.led_cb) {

		uint8_t val = *((uint8_t *)buf);

		if (val == 0x00 || val == 0x01) {

			lbs_cb.led_cb(val ? true : false);
		} else {
			LOG_DBG("Write led: Incorrect value");
			return BT_GATT_ERR(BT_ATT_ERR_VALUE_NOT_ALLOWED);
		}
	}

	return len;
}

//读取按键状态回调事件
static ssize_t read_button(struct bt_conn *conn, const struct bt_gatt_attr *attr, void *buf,
			   uint16_t len, uint16_t offset)
{

	const char *value = attr->user_data;

	LOG_DBG("Attribute read, handle: %u, conn: %p", attr->handle, (void *)conn);

	if (lbs_cb.button_cb) {	//发生客户端下发读取按键状态事件

		button_state = lbs_cb.button_cb();	//（main.c里面的值传递给button_state）
		return bt_gatt_attr_read(conn, attr, buf, len, offset, value, sizeof(*value));	//客户端读取按键状态后回传给服务端，下载历程按着按键不放，点击下发箭头会读取到press变化
	}

	return 0;
}

/* 自定义传感器的uuid */
#define BT_UUID_LBS_MYSENSOR_VAL                                                                   \
	BT_UUID_128_ENCODE(0x00001526, 0x1212, 0xefde, 0x1523, 0x785feabcd123)
#define BT_UUID_LBS_MYSENSOR BT_UUID_DECLARE_128(BT_UUID_LBS_MYSENSOR_VAL)

//静态创建点灯按键服务
BT_GATT_SERVICE_DEFINE(my_lbs_svc, BT_GATT_PRIMARY_SERVICE(BT_UUID_LBS),
			//添加按键特征 ***_props = BT_GATT_CHRC_READ | BT_GATT_CHRC_INDICATE [[表示特征属性是： 读属性， 允许带有特征值]]
		    BT_GATT_CHARACTERISTIC(BT_UUID_LBS_BUTTON, BT_GATT_CHRC_READ|BT_GATT_CHRC_INDICATE, BT_GATT_PERM_READ, read_button, NULL, &button_state),
			//添加按键特征值的描述符
			BT_GATT_CCC(mylbsbc_ccc_cfg_changed, BT_GATT_PERM_READ | BT_GATT_PERM_WRITE),
			//添加点灯服务
		    BT_GATT_CHARACTERISTIC(BT_UUID_LBS_LED, BT_GATT_CHRC_WRITE, BT_GATT_PERM_WRITE, NULL, write_led, NULL),
			/*在创建一个用户传感器特征  ******_props = BT_GATT_CHRC_NOTIFY [[允许带有特征值，但不能设置]]*/
			BT_GATT_CHARACTERISTIC(BT_UUID_LBS_MYSENSOR, BT_GATT_CHRC_NOTIFY, BT_GATT_PERM_NONE, NULL,
			       NULL, NULL),
			/*添加传感器特征值的描述符*/
			BT_GATT_CCC(mylbsbc_ccc_mysensor_cfg_changed, BT_GATT_PERM_READ | BT_GATT_PERM_WRITE),
);
//初始化赋值事件回调函数
int my_lbs_init(struct my_lbs_cb *callbacks)
{
	if (callbacks) {
		lbs_cb.led_cb = callbacks->led_cb;
		lbs_cb.button_cb = callbacks->button_cb;
	}

	return 0;
}


int my_lbs_send_button_state_indicate(bool button_state)
{
	if (!indicate_enabled) {
		return -EACCES;
	}
	ind_params.attr = &my_lbs_svc.attrs[2];
	ind_params.func = indicate_cb; 
	ind_params.destroy = NULL;
	ind_params.data = &button_state;
	ind_params.len = sizeof(button_state);
	return bt_gatt_indicate(NULL, &ind_params);
}

//传感器服务发送通知函数
//host传递网络核，直接发送bt_gatt_notify
int my_lbs_send_sensor_notify(uint32_t sensor_value)
{
	if (!notify_mysensor_enabled) {
		return -EACCES;
	}

	return bt_gatt_notify(NULL, &my_lbs_svc.attrs[7], &sensor_value, sizeof(sensor_value));
}
```

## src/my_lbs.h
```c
/*
 * Copyright (c) 2018 Nordic Semiconductor ASA
 *
 * SPDX-License-Identifier: LicenseRef-Nordic-5-Clause
 */

#ifndef MY_LBS_H_
#define MY_LBS_H_

/**@file
 * @defgroup bt_lbs LED Button Service API
 * @{
 * @brief API for the LED Button Service (LBS).
 */

#ifdef __cplusplus
extern "C" {
#endif

#include <zephyr/types.h>

/* STEP 1 - Define the 128 bit UUIDs for the GATT service and its characteristics in */
/** @brief LBS Service UUID. */
#define BT_UUID_LBS_VAL BT_UUID_128_ENCODE(0x00001523, 0x1212, 0xefde, 0x1523, 0x785feabcd123)

/** @brief Button Characteristic UUID. */
#define BT_UUID_LBS_BUTTON_VAL                                                                     \
	BT_UUID_128_ENCODE(0x00001524, 0x1212, 0xefde, 0x1523, 0x785feabcd123)

/** @brief LED Characteristic UUID. */
#define BT_UUID_LBS_LED_VAL BT_UUID_128_ENCODE(0x00001525, 0x1212, 0xefde, 0x1523, 0x785feabcd123)

#define BT_UUID_LBS BT_UUID_DECLARE_128(BT_UUID_LBS_VAL)
#define BT_UUID_LBS_BUTTON BT_UUID_DECLARE_128(BT_UUID_LBS_BUTTON_VAL)
#define BT_UUID_LBS_LED BT_UUID_DECLARE_128(BT_UUID_LBS_LED_VAL)

/** @brief Callback type for when an LED state change is received. */
typedef void (*led_cb_t)(const bool led_state);

/** @brief Callback type for when the button state is pulled. */
typedef bool (*button_cb_t)(void);

/** @brief Callback struct used by the LBS Service. */
struct my_lbs_cb {
	/** LED state change callback. */
	led_cb_t led_cb;
	/** Button read callback. */
	button_cb_t button_cb;
};

/** @brief Initialize the LBS Service.
 *
 * This function registers application callback functions with the My LBS
 * Service
 *
 * @param[in] callbacks Struct containing pointers to callback functions
 *			used by the service. This pointer can be NULL
 *			if no callback functions are defined.
 *
 *
 * @retval 0 If the operation was successful.
 *           Otherwise, a (negative) error code is returned.
 */
int my_lbs_init(struct my_lbs_cb *callbacks);
int my_lbs_send_button_state_indicate(bool button_state);
int my_lbs_send_button_state_notify(bool button_state);
int my_lbs_send_sensor_notify(uint32_t sensor_value);


#ifdef __cplusplus
}
#endif

/**
 * @}
 */

#endif /* BT_LBS_H_ */
```

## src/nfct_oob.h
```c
#ifndef NFCT_OOB_H
#define NFCT_OOB_H

void sercurity_conn_init_main();
void nfc_tnep_ndef_init_main();
void nfc_tnep_tag_event_handle();









#endif
```
